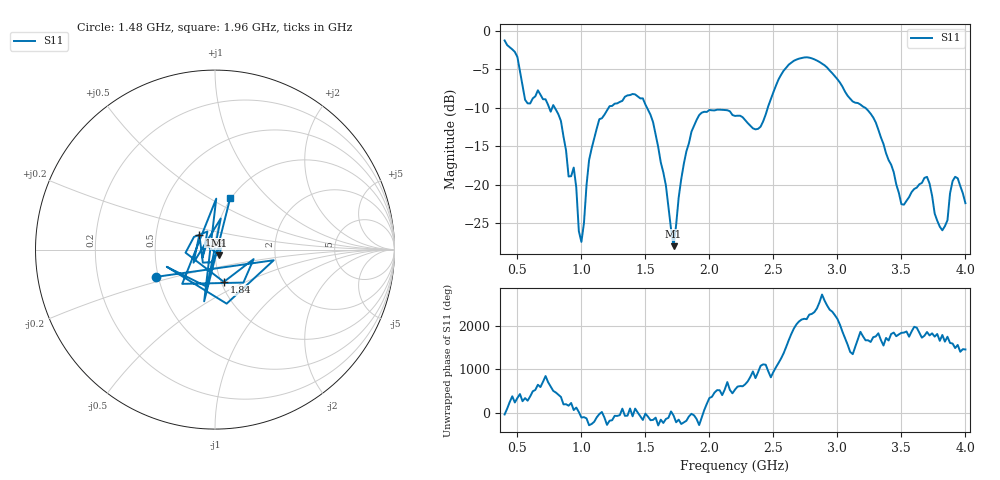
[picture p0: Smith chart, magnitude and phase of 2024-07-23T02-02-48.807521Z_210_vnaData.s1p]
!Created with skrf (http://scikit-rf.org).
# Hz S RI R 50.0
!freq ReS11 ImS11
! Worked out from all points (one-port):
!   181 points, 400 MHz to 4 GHz, reference 50 ohm
!   lowest |S11| = -27.9 dB at 1.72 GHz (marker M1), VSWR 1.08, Z = 52.4 - j3.36 ohm
!   |S11| at or under -10 dB: 792.7 MHz to 1.212 GHz (419.2 MHz wide, 41.8 % of centre); 1.513 GHz to 2.456 GHz (942.6 MHz wide, 47.5 % of centre); 3.219 GHz to end of sweep (the widest 3 of 4)
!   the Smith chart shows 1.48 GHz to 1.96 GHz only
!   S11 on the Smith chart (normalised r, x): 1.48 GHz: 0.48, -0.17; 1.64 GHz: 0.83, +0.14; 1.84 GHz: 1.03, -0.38; 1.96 GHz: 0.99, +0.62
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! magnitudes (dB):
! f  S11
! 400 MHz  -1.3
! 500 MHz  -3.4
! 560 MHz  -9.0
! 660 MHz  -7.7
! 860 MHz  -13.7
! 900 MHz  -18.9
! 940 MHz  -17.7
! 1 GHz  -27.4
! 1.06 GHz  -16.8
! 1.12 GHz  -12.7
! 1.3 GHz  -9.2
! 1.48 GHz  -8.8
! 1.64 GHz  -18.4
! 1.72 GHz  -27.9
! 1.76 GHz  -21.6
! 1.84 GHz  -14.6
! 1.96 GHz  -10.5
! 2.2 GHz  -11.0
! 2.4 GHz  -12.4
! 2.66 GHz  -3.9
! 3.1 GHz  -8.8
! 3.3 GHz  -11.9
! 3.5 GHz  -22.5
! 3.56 GHz  -21.6
! 3.7 GHz  -19.0
! 3.82 GHz  -25.9
! 3.92 GHz  -18.9
! 4 GHz  -22.4
